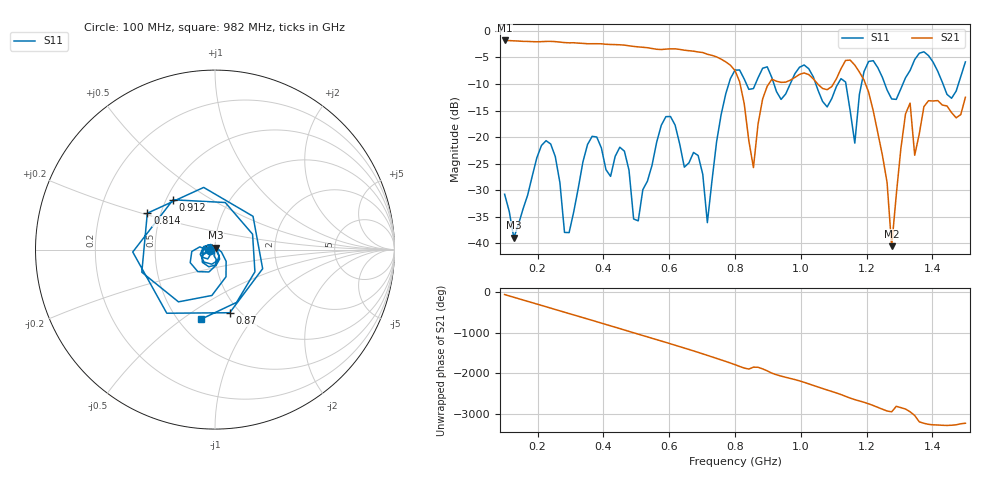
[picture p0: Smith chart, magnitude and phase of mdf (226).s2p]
! NanoVNA-App
! Date: 2025-09-25 15:40:11
! Start: 100MHz Stop: 1,5GHz Points: 101
! S-Parameter data: F S11 S21 S12 S22
# Hz S RI R 50
!  Frequency  S11_Real  S11_Imag  S21_Real  S21_Imag  S12_Real  S12_Imag  S22_Real  S22_Imag
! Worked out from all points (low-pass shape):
!   101 points, 100 MHz to 1.5 GHz, reference 50 ohm
!   highest |S21| = -1.80 dB at 100 MHz (marker M1); lowest = -40.6 dB at 1.276 GHz (marker M2)
!   |S21| within 3 dB of the highest: start of sweep to 739.4 MHz
!   lowest |S11| = -39.0 dB at 128 MHz (marker M3), VSWR 1.02, Z = 50.3 + j1.08 ohm
!   |S11| at or under -10 dB: start of sweep to 781 MHz; 1.046 GHz to 1.113 GHz (67.07 MHz wide, 6.22 % of centre); 1.255 GHz to 1.31 GHz (54.82 MHz wide, 4.27 % of centre) (the widest 3 of 7)
!   S12 and S22 are empty: the file has one direction only
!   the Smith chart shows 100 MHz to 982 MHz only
!   S11 on the Smith chart (normalised r, x): 100 MHz: 0.94, -0.01; 814 MHz: 0.42, +0.21; 870 MHz: 0.90, -0.73; 912 MHz: 0.54, +0.35; 982 MHz: 0.64, -0.59
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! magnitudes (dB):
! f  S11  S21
! 100 MHz  -30.8  -1.8
! 128 MHz  -39.0  -1.9
! 212 MHz  -21.6  -2.0
! 282 MHz  -38.0  -2.2
! 338 MHz  -24.7  -2.4
! 464 MHz  -22.7  -2.7
! 506 MHz  -35.8  -3.0
! 576 MHz  -17.8  -3.5
! 716 MHz  -36.1  -4.4
! 800 MHz  -7.4  -7.5
! 814 MHz  -7.4  -9.6
! 856 MHz  -10.9  -25.7
! 870 MHz  -8.8  -17.6
! 912 MHz  -8.8  -9.1
! 982 MHz  -8.1  -8.8
! 1.038 GHz  -8.7  -9.0
! 1.164 GHz  -21.1  -6.4
! 1.192 GHz  -7.7  -9.3
! 1.276 GHz  -12.8  -40.6
! 1.332 GHz  -7.5  -13.6
! 1.346 GHz  -5.4  -23.4
! 1.5 GHz  -5.8  -12.5
